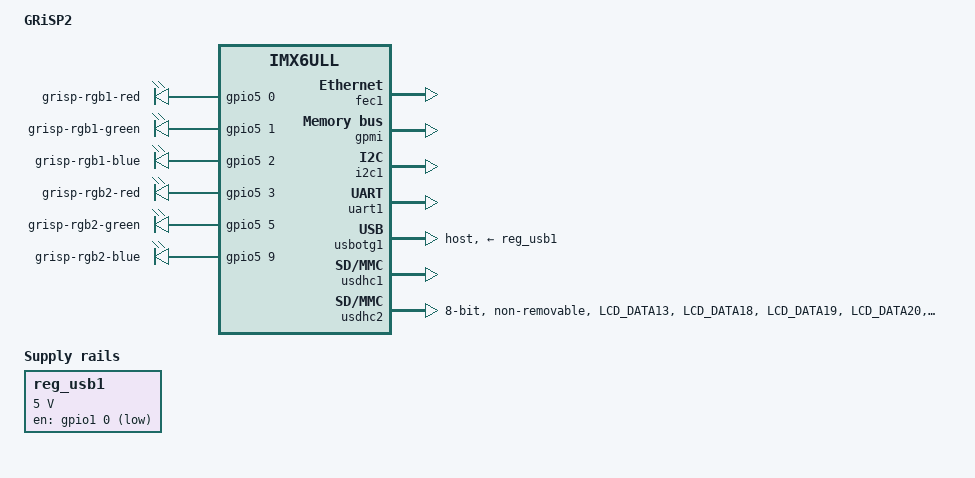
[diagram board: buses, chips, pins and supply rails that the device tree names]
// SPDX-License-Identifier: (GPL-2.0+ OR BSD-2-Clause)
/*
 * Copyright (C) 2020 embedded brains GmbH.
 */
/*
 * This device tree only includes peripherals necessary for the boot loader.
 */

/dts-v1/;
#include <arm/imx6ull.dtsi>
#include "imx6ul-phytec-phycore-som.dtsi"

/ {
	model = "GRiSP2";
	compatible = "embeddedbrains,grisp2", "phytec,imx6ul-pcl063-nand", "fsl,imx6ull";

	gpio_leds_grisp2: leds {
		pinctrl-names = "default";
		pinctrl-0 = <&pinctrl_gpioleds_grisp2>;
		compatible = "gpio-leds";

		grisp-rgb1-red {
			gpios = <&gpio5 0 GPIO_ACTIVE_HIGH>;
		};
		grisp-rgb1-green {
			gpios = <&gpio5 1 GPIO_ACTIVE_HIGH>;
		};
		grisp-rgb1-blue {
			gpios = <&gpio5 2 GPIO_ACTIVE_HIGH>;
		};
		grisp-rgb2-red {
			gpios = <&gpio5 3 GPIO_ACTIVE_HIGH>;
		};
		grisp-rgb2-green {
			gpios = <&gpio5 5 GPIO_ACTIVE_HIGH>;
		};
		grisp-rgb2-blue {
			gpios = <&gpio5 9 GPIO_ACTIVE_HIGH>;
		};
	};

	reg_usb1: regulator-usb1 {
		compatible = "regulator-fixed";
		pinctrl-names = "default";
		pinctrl-0 = <&pinctrl_usb1_en>;
		gpio = <&gpio1 0 GPIO_ACTIVE_HIGH>;

		regulator-name = "usb1";
		regulator-min-microvolt = <5000000>;
		regulator-max-microvolt = <5000000>;

		status = "okay";
	};
};

&fec1 {
	status = "okay";
};

&gpmi {
	status = "okay";
};

&i2c1 {
	status = "okay";
};

&uart1 {
	status = "okay";
};

&usbotg1 {
	pinctrl-names = "default";
	dr_mode = "host";
	vbus-supply = <&reg_usb1>;
	status = "okay";
};

&usdhc1 {
	pinctrl-names = "default";
	status = "okay";
};

&usdhc2 {
	pinctrl-names = "default";
	pinctrl-0 = <&pinctrl_usdhc2_grisp>;
	bus-width = <8>;
	max-frequency = <50000000>;
	non-removable;
	cap-mmc-hw-reset;
	status = "okay";
};

&iomuxc {
	pinctrl_usb1_en: usb1engrp {
		fsl,pins = <
			MX6UL_PAD_GPIO1_IO00__GPIO1_IO00	0x08
		>;
	};

	pinctrl_usb2_en: usb2engrp {
		fsl,pins = <
			MX6UL_PAD_LCD_DATA11__GPIO3_IO16	0x08
		>;
	};

	/delete-node/ pinctrl_usdhc2;

	pinctrl_usdhc2_grisp: usdhc2-grp {
		fsl,pins = <
			MX6UL_PAD_LCD_DATA13__USDHC2_RESET_B	0x17059
			MX6UL_PAD_LCD_DATA18__USDHC2_CMD	0x17059
			MX6UL_PAD_LCD_DATA19__USDHC2_CLK	0x17059
			MX6UL_PAD_LCD_DATA20__USDHC2_DATA0	0x17059
			MX6UL_PAD_LCD_DATA21__USDHC2_DATA1	0x17059
			MX6UL_PAD_LCD_DATA22__USDHC2_DATA2	0x17059
			MX6UL_PAD_LCD_DATA23__USDHC2_DATA3	0x17059
			MX6UL_PAD_LCD_DATA14__USDHC2_DATA4	0x17059
			MX6UL_PAD_LCD_DATA15__USDHC2_DATA5	0x17059
			MX6UL_PAD_LCD_DATA16__USDHC2_DATA6	0x17059
			MX6UL_PAD_LCD_DATA17__USDHC2_DATA7	0x17059
		>;
	};

	/delete-node/ gpioledssomgrp;
};

&iomuxc_snvs {
	pinctrl_gpioleds_som: gpioledssomgrp {
		fsl,pins = <
			MX6ULL_PAD_SNVS_TAMPER4__GPIO5_IO04	0x0b0b0
		>;
	};

	pinctrl_gpioleds_grisp2: gpioledsgrisp2grp {
		fsl,pins = <
			MX6UL_PAD_SNVS_TAMPER0__GPIO5_IO00	0x00088
			MX6UL_PAD_SNVS_TAMPER1__GPIO5_IO01	0x00088
			MX6UL_PAD_SNVS_TAMPER2__GPIO5_IO02	0x00088
			MX6UL_PAD_SNVS_TAMPER3__GPIO5_IO03	0x00088
			MX6UL_PAD_SNVS_TAMPER5__GPIO5_IO05	0x00088
			MX6UL_PAD_SNVS_TAMPER9__GPIO5_IO09	0x00088
		>;
	};
};
